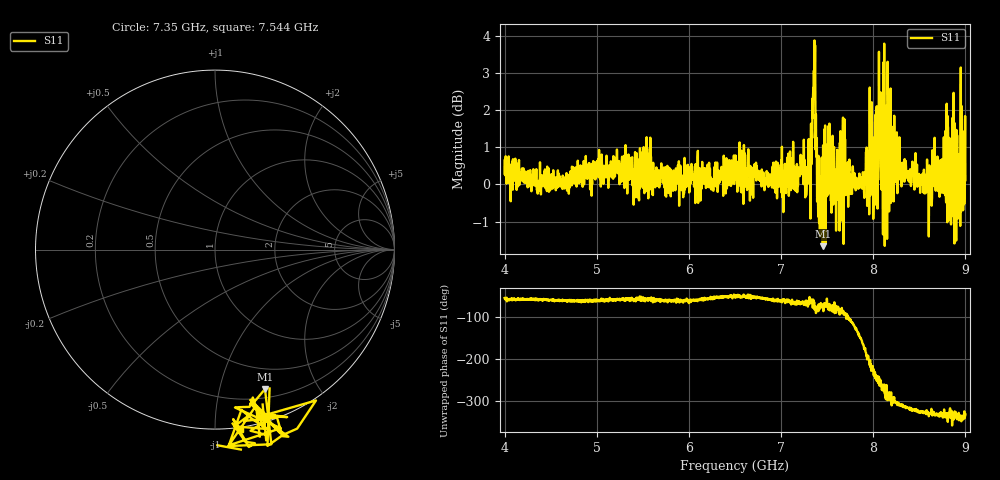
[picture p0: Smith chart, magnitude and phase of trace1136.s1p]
! Created with skrf 1.8.0 (http://scikit-rf.org).
# Hz S RI R 50.0
!freq ReS11 ImS11
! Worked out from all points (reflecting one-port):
!   1601 points, 4 GHz to 9 GHz, reference 50 ohm
!   lowest |S11| = -1.7 dB at 7.453 GHz (marker M1), VSWR 10.46, Z = 14.2 - j69.1 ohm
!   phase of S11 starts at -55 deg and turns -278 deg over the sweep
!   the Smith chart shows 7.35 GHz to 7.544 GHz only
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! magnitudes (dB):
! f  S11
! 4 GHz  0.3
! 4.625 GHz  -0.1
! 5.25 GHz  0.1
! 5.875 GHz  0.3
! 6.5 GHz  0.3
! 7.125 GHz  0.7
! 7.297 GHz  1.1
! 7.347 GHz  2.4
! 7.359 GHz  2.5
! 7.412 GHz  -1.0
! 7.438 GHz  -1.3
! 7.453 GHz  -1.7
! 7.509 GHz  -0.3
! 7.609 GHz  0.9
! 7.669 GHz  1.3
! 7.75 GHz  0.0
! 7.994 GHz  1.0
! 8.056 GHz  0.7
! 8.128 GHz  1.3
! 8.162 GHz  1.5
! 8.216 GHz  1.4
! 8.375 GHz  0.3
! 8.612 GHz  -0.2
! 8.666 GHz  1.3
! 8.788 GHz  -0.2
! 8.919 GHz  -0.2
! 8.972 GHz  0.7
! 9 GHz  0.1
